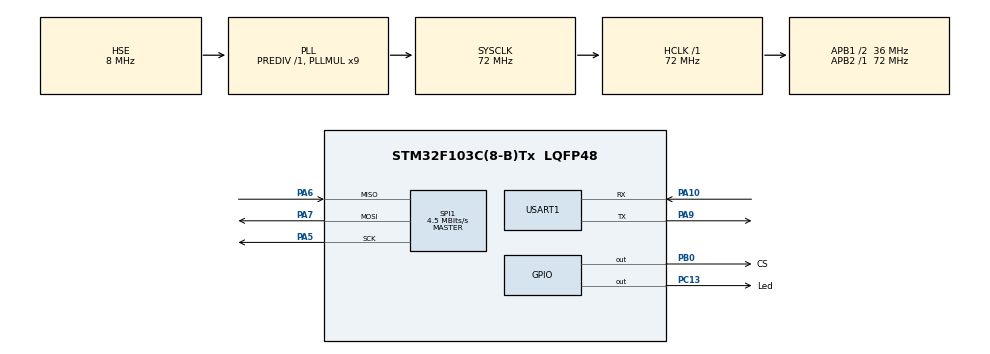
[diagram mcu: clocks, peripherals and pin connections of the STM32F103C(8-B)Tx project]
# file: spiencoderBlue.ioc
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Mcu.Family=STM32F1
Mcu.Name=STM32F103C(8-B)Tx
Mcu.Package=LQFP48
NVIC.PriorityGroup=NVIC_PRIORITYGROUP_4
NVIC.RCC_IRQn=true\:0\:0\:false\:false\:true\:true\:false\:true
NVIC.TIM1_BRK_IRQn=true\:0\:0\:false\:false\:true\:true\:true\:true
NVIC.TIM1_TRG_COM_IRQn=true\:0\:0\:false\:false\:true\:true\:true\:true
NVIC.TIM1_UP_IRQn=true\:0\:0\:false\:false\:true\:true\:true\:true
NVIC.USART1_IRQn=true\:0\:0\:false\:false\:true\:true\:true\:true
PA10.Mode=Asynchronous
PA10.Signal=USART1_RX
PA13.Mode=Serial_Wire
PA13.Signal=SYS_JTMS-SWDIO
PA14.Mode=Serial_Wire
PA14.Signal=SYS_JTCK-SWCLK
PA5.Mode=Full_Duplex_Master
PA5.Signal=SPI1_SCK
PA6.Mode=Full_Duplex_Master
PA6.Signal=SPI1_MISO
PA7.Mode=Full_Duplex_Master
PA7.Signal=SPI1_MOSI
PA9.Mode=Asynchronous
PA9.Signal=USART1_TX
PB0.GPIO_Label=CS
PB0.Signal=GPIO_Output
PC13-TAMPER-RTC.GPIO_Label=Led
PC13-TAMPER-RTC.Signal=GPIO_Output
PD0-OSC_IN.Mode=HSE-External-Oscillator
PD0-OSC_IN.Signal=RCC_OSC_IN
PD1-OSC_OUT.Mode=HSE-External-Oscillator
PD1-OSC_OUT.Signal=RCC_OSC_OUT
ProjectManager.HeapSize=0x200
ProjectManager.StackSize=0x400
ProjectManager.TargetToolchain=STM32CubeIDE
RCC.AHBFreq_Value=72000000
RCC.APB1CLKDivider=RCC_HCLK_DIV2
RCC.APB1Freq_Value=36000000
RCC.APB1TimFreq_Value=72000000
RCC.APB2Freq_Value=72000000
RCC.APB2TimFreq_Value=72000000
RCC.HCLKFreq_Value=72000000
RCC.PLLMUL=RCC_PLL_MUL9
RCC.PLLSourceVirtual=RCC_PLLSOURCE_HSE
RCC.SYSCLKFreq_VALUE=72000000
RCC.SYSCLKSource=RCC_SYSCLKSOURCE_PLLCLK
RCC.USBFreq_Value=48000000
RCC.USBPrescaler=RCC_USBCLKSOURCE_PLL_DIV1_5
SPI1.BaudRatePrescaler=SPI_BAUDRATEPRESCALER_16
SPI1.CalculateBaudRate=4.5 MBits/s
SPI1.Direction=SPI_DIRECTION_2LINES
SPI1.Mode=SPI_MODE_MASTER
SPI1.VirtualType=VM_MASTER
TIM1.Period=10000
TIM1.Prescaler=72
TIM2.Prescaler=72-1
USART1.VirtualMode=VM_ASYNC
VP_TIM1_VS_ClockSourceINT.Mode=Internal
VP_TIM2_VS_ClockSourceINT.Mode=Internal
board=custom

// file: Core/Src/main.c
/* USER CODE BEGIN Header */
/**
 ******************************************************************************
 * @file           : main.c
 * @brief          : Main program body
 ******************************************************************************
 * @attention
 *
 * Copyright (c) 2023 STMicroelectronics.
 * All rights reserved.
 *
 * This software is licensed under terms that can be found in the LICENSE file
 * in the root directory of this software component.
 * If no LICENSE file comes with this software, it is provided AS-IS.
 *
 ******************************************************************************
 */
/* USER CODE END Header */
#include "main.h"
#include <math.h>
/* USER CODE BEGIN Includes */
#include <stdio.h>
#include "AMT22.h"
/* USER CODE END Includes */

SPI_HandleTypeDef hspi1;

TIM_HandleTypeDef htim1;
TIM_HandleTypeDef htim2;

UART_HandleTypeDef huart1;

void SystemClock_Config(void);
static void MX_GPIO_Init(void);
static void MX_SPI1_Init(void);
static void MX_TIM1_Init(void);
static void MX_USART1_UART_Init(void);
static void MX_TIM2_Init(void);

int main(void) {

	/* MCU Configuration--------------------------------------------------------*/

	/* Reset of all peripherals, Initializes the Flash interface and the Systick. */
	HAL_Init();

	/* Configure the system clock */
	SystemClock_Config();

	/* Initialize all configured peripherals */
	MX_GPIO_Init();
	MX_SPI1_Init();
	MX_TIM1_Init();
	MX_USART1_UART_Init();
	MX_TIM2_Init();
	/* USER CODE BEGIN 2 */
	uint16_t posnow = 0;

	HAL_UART_Init(&huart1);

	HAL_TIM_Base_Init(&htim2);
	HAL_Delay(300); //при старте 200 милисек не хотел ебать?

	posnow = getPositionSPI(&hspi1, CS_GPIO_Port, CS_Pin, 12, &htim2);

	resetAMT22(&hspi1, CS_GPIO_Port, CS_Pin, &htim2);
	setZeroSPI(&hspi1, CS_GPIO_Port, CS_Pin, &htim2); //воно само зчитає поточну позицію и засейвить її в пам'ять

	HAL_Delay(250);  //250 мілісек після встановлення нуля полюбасу

  char buf[4];
  char bufAngle[10];

	/* USER CODE END 2 */
	float angle = 0;
	/* Infinite loop */
	/* USER CODE BEGIN WHILE */
	while (1) {

		posnow = getPositionSPI(&hspi1, CS_GPIO_Port, CS_Pin, 12, &htim2);
		angle = calculateAngle(posnow, 12); //або 14

  sprintf(buf, "%hu\n", posnow);
  HAL_UART_Transmit(&huart1, (uint8_t *)buf, sizeof(buf),0xFFFF);
  sprintf(bufAngle, "%.2f", angle);
  strcat(bufAngle, "\n");
  HAL_UART_Transmit(&huart1, (uint8_t *)bufAngle, sizeof(bufAngle),0xFFFF);

		HAL_GPIO_TogglePin(Led_GPIO_Port, Led_Pin); //просто як індикатор

		HAL_Delay(500);
		/* USER CODE END WHILE */

	}
}

void SystemClock_Config(void) {
	RCC_OscInitTypeDef RCC_OscInitStruct = { 0 };
	RCC_ClkInitTypeDef RCC_ClkInitStruct = { 0 };

	/** Initializes the RCC Oscillators according to the specified parameters
	 * in the RCC_OscInitTypeDef structure.
	 */
	RCC_OscInitStruct.OscillatorType = RCC_OSCILLATORTYPE_HSE;
	RCC_OscInitStruct.HSEState = RCC_HSE_ON;
	RCC_OscInitStruct.HSEPredivValue = RCC_HSE_PREDIV_DIV1;
	RCC_OscInitStruct.HSIState = RCC_HSI_ON;
	RCC_OscInitStruct.PLL.PLLState = RCC_PLL_ON;
	RCC_OscInitStruct.PLL.PLLSource = RCC_PLLSOURCE_HSE;
	RCC_OscInitStruct.PLL.PLLMUL = RCC_PLL_MUL9;
	if (HAL_RCC_OscConfig(&RCC_OscInitStruct) != HAL_OK) {
		Error_Handler();
	}

	/** Initializes the CPU, AHB and APB buses clocks
	 */
	RCC_ClkInitStruct.ClockType = RCC_CLOCKTYPE_HCLK | RCC_CLOCKTYPE_SYSCLK
			| RCC_CLOCKTYPE_PCLK1 | RCC_CLOCKTYPE_PCLK2;
	RCC_ClkInitStruct.SYSCLKSource = RCC_SYSCLKSOURCE_PLLCLK;
	RCC_ClkInitStruct.AHBCLKDivider = RCC_SYSCLK_DIV1;
	RCC_ClkInitStruct.APB1CLKDivider = RCC_HCLK_DIV2;
	RCC_ClkInitStruct.APB2CLKDivider = RCC_HCLK_DIV1;

	if (HAL_RCC_ClockConfig(&RCC_ClkInitStruct, FLASH_LATENCY_2) != HAL_OK) {
		Error_Handler();
	}
}

static void MX_SPI1_Init(void) {

	/* SPI1 parameter configuration*/
	hspi1.Instance = SPI1;
	hspi1.Init.Mode = SPI_MODE_MASTER;
	hspi1.Init.Direction = SPI_DIRECTION_2LINES;
	hspi1.Init.DataSize = SPI_DATASIZE_8BIT;
	hspi1.Init.CLKPolarity = SPI_POLARITY_LOW;
	hspi1.Init.CLKPhase = SPI_PHASE_1EDGE;
	hspi1.Init.NSS = SPI_NSS_SOFT;
	hspi1.Init.BaudRatePrescaler = SPI_BAUDRATEPRESCALER_16;
	hspi1.Init.FirstBit = SPI_FIRSTBIT_MSB;
	hspi1.Init.TIMode = SPI_TIMODE_DISABLE;
	hspi1.Init.CRCCalculation = SPI_CRCCALCULATION_DISABLE;
	hspi1.Init.CRCPolynomial = 10;
	if (HAL_SPI_Init(&hspi1) != HAL_OK) {
		Error_Handler();
	}

}

static void MX_TIM1_Init(void) {

	TIM_ClockConfigTypeDef sClockSourceConfig = { 0 };
	TIM_MasterConfigTypeDef sMasterConfig = { 0 };

	htim1.Instance = TIM1;
	htim1.Init.Prescaler = 72;
	htim1.Init.CounterMode = TIM_COUNTERMODE_UP;
	htim1.Init.Period = 10000;
	htim1.Init.ClockDivision = TIM_CLOCKDIVISION_DIV1;
	htim1.Init.RepetitionCounter = 0;
	htim1.Init.AutoReloadPreload = TIM_AUTORELOAD_PRELOAD_DISABLE;
	if (HAL_TIM_Base_Init(&htim1) != HAL_OK) {
		Error_Handler();
	}
	sClockSourceConfig.ClockSource = TIM_CLOCKSOURCE_INTERNAL;
	if (HAL_TIM_ConfigClockSource(&htim1, &sClockSourceConfig) != HAL_OK) {
		Error_Handler();
	}
	sMasterConfig.MasterOutputTrigger = TIM_TRGO_RESET;
	sMasterConfig.MasterSlaveMode = TIM_MASTERSLAVEMODE_DISABLE;
	if (HAL_TIMEx_MasterConfigSynchronization(&htim1, &sMasterConfig)
			!= HAL_OK) {
		Error_Handler();
	}

}

static void MX_TIM2_Init(void) {

	TIM_ClockConfigTypeDef sClockSourceConfig = { 0 };
	TIM_MasterConfigTypeDef sMasterConfig = { 0 };

	htim2.Instance = TIM2;
	htim2.Init.Prescaler = 72 - 1;
	htim2.Init.CounterMode = TIM_COUNTERMODE_UP;
	htim2.Init.Period = 1000;
	htim2.Init.ClockDivision = TIM_CLOCKDIVISION_DIV1;
	htim2.Init.AutoReloadPreload = TIM_AUTORELOAD_PRELOAD_DISABLE;
	if (HAL_TIM_Base_Init(&htim2) != HAL_OK) {
		Error_Handler();
	}
	sClockSourceConfig.ClockSource = TIM_CLOCKSOURCE_INTERNAL;
	if (HAL_TIM_ConfigClockSource(&htim2, &sClockSourceConfig) != HAL_OK) {
		Error_Handler();
	}
	sMasterConfig.MasterOutputTrigger = TIM_TRGO_RESET;
	sMasterConfig.MasterSlaveMode = TIM_MASTERSLAVEMODE_DISABLE;
	if (HAL_TIMEx_MasterConfigSynchronization(&htim2, &sMasterConfig)
			!= HAL_OK) {
		Error_Handler();
	}

}

static void MX_USART1_UART_Init(void) {

	huart1.Instance = USART1;
	huart1.Init.BaudRate = 115200;
	huart1.Init.WordLength = UART_WORDLENGTH_8B;
	huart1.Init.StopBits = UART_STOPBITS_1;
	huart1.Init.Parity = UART_PARITY_NONE;
	huart1.Init.Mode = UART_MODE_TX_RX;
	huart1.Init.HwFlowCtl = UART_HWCONTROL_NONE;
	huart1.Init.OverSampling = UART_OVERSAMPLING_16;
	if (HAL_UART_Init(&huart1) != HAL_OK) {
		Error_Handler();
	}

}

static void MX_GPIO_Init(void) {
	GPIO_InitTypeDef GPIO_InitStruct = { 0 };

	/* GPIO Ports Clock Enable */
	__HAL_RCC_GPIOC_CLK_ENABLE();
	__HAL_RCC_GPIOD_CLK_ENABLE();
	__HAL_RCC_GPIOA_CLK_ENABLE();
	__HAL_RCC_GPIOB_CLK_ENABLE();

	/*Configure GPIO pin Output Level */
	HAL_GPIO_WritePin(Led_GPIO_Port, Led_Pin, GPIO_PIN_RESET);

	/*Configure GPIO pin Output Level */
	HAL_GPIO_WritePin(CS_GPIO_Port, CS_Pin, GPIO_PIN_RESET);

	/*Configure GPIO pin : Led_Pin */
	GPIO_InitStruct.Pin = Led_Pin;
	GPIO_InitStruct.Mode = GPIO_MODE_OUTPUT_PP;
	GPIO_InitStruct.Pull = GPIO_NOPULL;
	GPIO_InitStruct.Speed = GPIO_SPEED_FREQ_LOW;
	HAL_GPIO_Init(Led_GPIO_Port, &GPIO_InitStruct);

	/*Configure GPIO pin : CS_Pin */
	GPIO_InitStruct.Pin = CS_Pin;
	GPIO_InitStruct.Mode = GPIO_MODE_OUTPUT_PP;
	GPIO_InitStruct.Pull = GPIO_NOPULL;
	GPIO_InitStruct.Speed = GPIO_SPEED_FREQ_LOW;
	HAL_GPIO_Init(CS_GPIO_Port, &GPIO_InitStruct);

}

void Error_Handler(void) {
	__disable_irq();
	while (1) {
	}
}
